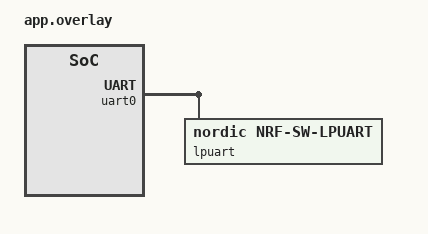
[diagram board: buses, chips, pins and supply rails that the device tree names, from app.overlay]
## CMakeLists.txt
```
# SPDX-License-Identifier: Apache-2.0

cmake_minimum_required(VERSION 3.20.0)

# Infuse-IoT application
if(NOT infuse IN_LIST SNIPPET)
  set(SNIPPET infuse ${SNIPPET} CACHE STRING "" FORCE)
endif()

find_package(Zephyr REQUIRED HINTS $ENV{ZEPHYR_BASE})
project(lpuart)

target_sources(app PRIVATE
  src/main.c
)
```

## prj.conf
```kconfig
CONFIG_INFUSE_SDK=y
```

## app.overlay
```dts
&uart0 {
	lpuart: nrf-sw-lpuart {
		compatible = "nordic,nrf-sw-lpuart";
		status = "okay";
		req-pin = <5>;
		rdy-pin = <7>;
	};
};

&gpiote {
	/* GPIOTE and UART IRQ priorities must match */
	interrupts = <6 NRF_DEFAULT_IRQ_PRIORITY>;
};
```

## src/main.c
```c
/**
 * @file
 * @copyright 2024 Embeint Holdings Pty Ltd
 * @author Jordan Yates <jordan@embeint.com>
 *
 * SPDX-License-Identifier: FSL-1.1-ALv2
 */

#include <zephyr/device.h>
#include <zephyr/devicetree.h>
#include <zephyr/kernel.h>

int main(void)
{
	const struct device *lpuart = DEVICE_DT_GET_ONE(nordic_nrf_sw_lpuart);

	printk("LPUART: %p %s\n", lpuart, lpuart->name);

	return 0;
}
```
